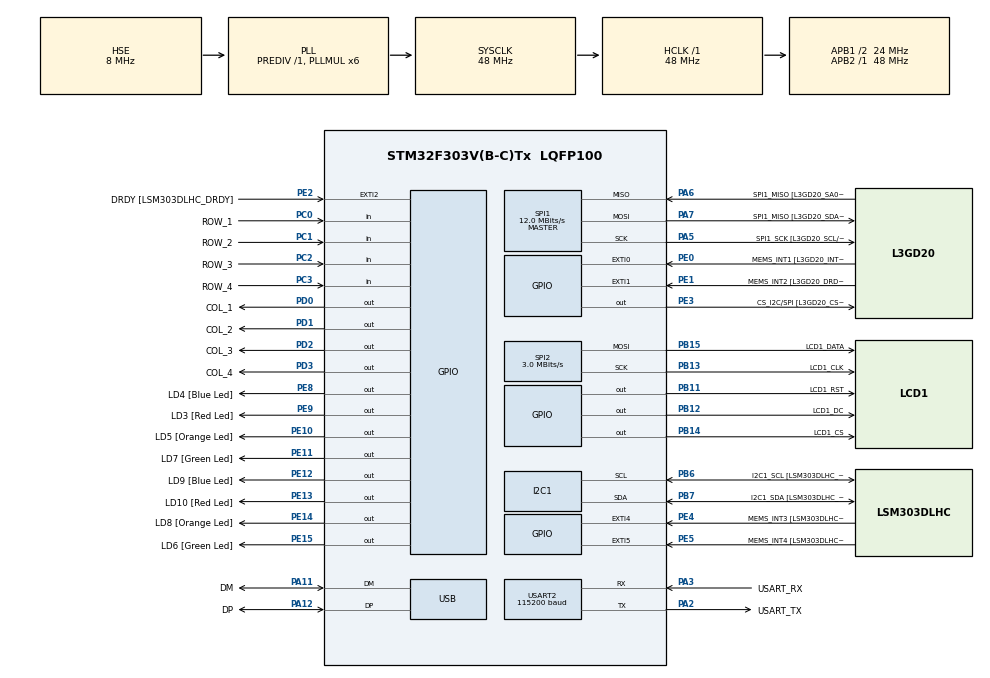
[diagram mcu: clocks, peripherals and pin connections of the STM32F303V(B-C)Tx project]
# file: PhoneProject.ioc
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I2C1.Timing=0x00201D2B
I2C1.Timing-I2C=0x2000090E
Mcu.Family=STM32F3
Mcu.Name=STM32F303V(B-C)Tx
Mcu.Package=LQFP100
NVIC.PriorityGroup=NVIC_PRIORITYGROUP_0
NVIC.USART2_IRQn=true\:0\:0\:false\:false\:true\:true\:true\:true
PA11.GPIO_Label=DM
PA11.Mode=Device
PA11.Signal=USB_DM
PA12.GPIO_Label=DP
PA12.Mode=Device
PA12.Signal=USB_DP
PA13.GPIO_Label=SWDIO
PA13.Mode=Serial_Wire
PA13.Signal=SYS_JTMS-SWDIO
PA14.GPIO_Label=SWCLK
PA14.Mode=Serial_Wire
PA14.Signal=SYS_JTCK-SWCLK
PA2.GPIO_Label=USART_TX
PA2.Mode=Asynchronous
PA2.Signal=USART2_TX
PA3.GPIO_Label=USART_RX
PA3.Mode=Asynchronous
PA3.Signal=USART2_RX
PA5.GPIO_Label=SPI1_SCK [L3GD20_SCL/SPC]
PA5.Mode=Full_Duplex_Master
PA5.Signal=SPI1_SCK
PA6.GPIO_Label=SPI1_MISO [L3GD20_SA0/SDO]
PA6.Mode=Full_Duplex_Master
PA6.Signal=SPI1_MISO
PA7.GPIO_Label=SPI1_MISO [L3GD20_SDA/SDI/SDO]
PA7.Mode=Full_Duplex_Master
PA7.Signal=SPI1_MOSI
PB11.GPIO_Label=LCD1_RST
PB11.Signal=GPIO_Output
PB12.GPIO_Label=LCD1_DC
PB12.Signal=GPIO_Output
PB13.GPIO_Label=LCD1_CLK
PB13.Mode=TX_Only_Simplex_Unidirect_Master
PB13.Signal=SPI2_SCK
PB14.GPIO_Label=LCD1_CS
PB14.Signal=GPIO_Output
PB15.GPIO_Label=LCD1_DATA
PB15.Mode=TX_Only_Simplex_Unidirect_Master
PB15.Signal=SPI2_MOSI
PB3.GPIO_Label=SWO
PB3.Signal=SYS_JTDO-TRACESWO
PB6.GPIO_Label=I2C1_SCL [LSM303DLHC_SCL]
PB6.GPIO_Pu=GPIO_PULLUP
PB6.Mode=I2C
PB6.Signal=I2C1_SCL
PB7.GPIO_Label=I2C1_SDA [LSM303DLHC_SDA]
PB7.GPIO_Pu=GPIO_PULLUP
PB7.Mode=I2C
PB7.Signal=I2C1_SDA
PC0.GPIO_Label=ROW_1
PC0.GPIO_PuPd=GPIO_PULLUP
PC0.Signal=GPIO_Input
PC1.GPIO_Label=ROW_2
PC1.GPIO_PuPd=GPIO_PULLUP
PC1.Signal=GPIO_Input
PC14-OSC32_IN.GPIO_Label=OSC32_IN
PC14-OSC32_IN.Signal=RCC_OSC32_IN
PC15-OSC32_OUT.GPIO_Label=OSC32_OUT
PC15-OSC32_OUT.Signal=RCC_OSC32_OUT
PC2.GPIO_Label=ROW_3
PC2.GPIO_PuPd=GPIO_PULLUP
PC2.Signal=GPIO_Input
PC3.GPIO_Label=ROW_4
PC3.GPIO_PuPd=GPIO_PULLUP
PC3.Signal=GPIO_Input
PD0.GPIO_Label=COL_1
PD0.GPIO_PuPd=GPIO_PULLUP
PD0.Signal=GPIO_Output
PD1.GPIO_Label=COL_2
PD1.GPIO_PuPd=GPIO_PULLUP
PD1.Signal=GPIO_Output
PD2.GPIO_Label=COL_3
PD2.GPIO_PuPd=GPIO_PULLUP
PD2.Signal=GPIO_Output
PD3.GPIO_Label=COL_4
PD3.GPIO_PuPd=GPIO_PULLUP
PD3.Signal=GPIO_Output
PE0.GPIO_Label=MEMS_INT1 [L3GD20_INT1]
PE0.GPIO_ModeDefaultEXTI=GPIO_MODE_EVT_RISING
PE0.Signal=GPXTI0
PE1.GPIO_Label=MEMS_INT2 [L3GD20_DRDY/INT2]
PE1.GPIO_ModeDefaultEXTI=GPIO_MODE_EVT_RISING
PE1.Signal=GPXTI1
PE10.GPIO_Label=LD5 [Orange Led]
PE10.Signal=GPIO_Output
PE11.GPIO_Label=LD7 [Green Led]
PE11.Signal=GPIO_Output
PE12.GPIO_Label=LD9 [Blue Led]
PE12.Signal=GPIO_Output
PE13.GPIO_Label=LD10 [Red Led]
PE13.Signal=GPIO_Output
PE14.GPIO_Label=LD8 [Orange Led]
PE14.Signal=GPIO_Output
PE15.GPIO_Label=LD6 [Green Led]
PE15.Signal=GPIO_Output
PE2.GPIO_Label=DRDY [LSM303DLHC_DRDY]
PE2.GPIO_ModeDefaultEXTI=GPIO_MODE_EVT_RISING
PE2.Signal=GPXTI2
PE3.GPIO_Label=CS_I2C/SPI [L3GD20_CS_I2C/SPI]
PE3.Signal=GPIO_Output
PE4.GPIO_Label=MEMS_INT3 [LSM303DLHC_INT1]
PE4.GPIO_ModeDefaultEXTI=GPIO_MODE_EVT_RISING
PE4.Signal=GPXTI4
PE5.GPIO_Label=MEMS_INT4 [LSM303DLHC_INT2]
PE5.GPIO_ModeDefaultEXTI=GPIO_MODE_EVT_RISING
PE5.Signal=GPXTI5
PE8.GPIO_Label=LD4 [Blue Led]
PE8.Signal=GPIO_Output
PE9.GPIO_Label=LD3 [Red Led]
PE9.Signal=GPIO_Output
PF0-OSC_IN.GPIO_Label=OSC_IN
PF0-OSC_IN.Mode=HSE-External-Clock-Source
PF0-OSC_IN.Signal=RCC_OSC_IN
PF1-OSC_OUT.GPIO_Label=OSC_OUT
PF1-OSC_OUT.Signal=RCC_OSC_OUT
ProjectManager.HeapSize=0x200
ProjectManager.StackSize=0x400
ProjectManager.TargetToolchain=STM32CubeIDE
RCC.AHBFreq_Value=48000000
RCC.APB1CLKDivider=RCC_HCLK_DIV2
RCC.APB1Freq_Value=24000000
RCC.APB1TimFreq_Value=48000000
RCC.APB2Freq_Value=48000000
RCC.APB2TimFreq_Value=48000000
RCC.CortexFreq_Value=48000000
RCC.HCLKFreq_Value=48000000
RCC.HSE_VALUE=8000000
RCC.HSI_VALUE=8000000
RCC.LSE_VALUE=32768
RCC.PLLMUL=RCC_PLL_MUL6
RCC.SYSCLKFreq_VALUE=48000000
RCC.SYSCLKSourceVirtual=RCC_SYSCLKSOURCE_PLLCLK
RCC.USBFreq_Value=48000000
SPI1.BaudRatePrescaler=SPI_BAUDRATEPRESCALER_4
SPI1.BaudRatePrescaler-Full_Duplex_Master=SPI_BAUDRATEPRESCALER_2
SPI1.CalculateBaudRate=12.0 MBits/s
SPI1.CalculateBaudRate-Full_Duplex_Master=24.0 MBits/s
SPI1.Direction=SPI_DIRECTION_2LINES
SPI1.Mode=SPI_MODE_MASTER
SPI1.Mode-Full_Duplex_Master=SPI_MODE_MASTER
SPI1.VirtualType=VM_MASTER
SPI2.BaudRatePrescaler=SPI_BAUDRATEPRESCALER_8
SPI2.CalculateBaudRate=3.0 MBits/s
SPI2.DataSize=SPI_DATASIZE_8BIT
SPI2.Direction=SPI_DIRECTION_2LINES
SPI2.Mode=SPI_MODE_MASTER
SPI2.VirtualType=VM_MASTER
USART2.BaudRate=115200
USART2.VirtualMode-Asynchronous=VM_ASYNC
board=STM32F3DISCOVERY

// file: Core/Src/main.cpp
/* USER CODE BEGIN Header */
/**
  ******************************************************************************
  * @file           : main.c
  * @brief          : Main program body
  ******************************************************************************
  * @attention
  *
  * Copyright (c) 2024 STMicroelectronics.
  * All rights reserved.
  *
  * This software is licensed under terms that can be found in the LICENSE file
  * in the root directory of this software component.
  * If no LICENSE file comes with this software, it is provided AS-IS.
  *
  ******************************************************************************
  */
/* USER CODE END Header */
extern "C"{
	#include "main.h"
	#include "i2c.h"
	#include "spi.h"
	#include "usart.h"
	#include "usb.h"
	#include "gpio.h"
	#include "lcd5110.h"
}
#include "GSMLibrary.hpp"
/* USER CODE BEGIN Includes */
#include <cstring>
#include <iostream>
#include <queue>
#include <fstream>
#include <string>
#include <stack>
/* USER CODE END Includes */

LCD5110_display lcd;

void SystemClock_Config(void);
/* USER CODE BEGIN PFP */
//void handle_state_machine(GSM_Module& gsm);
//GSMState parse_command(const std::string& command, GSM_Module gsm);
//std::string read_keyboard_input();
/* USER CODE END PFP */

/* USER CODE BEGIN 0 */

char keypad_scan(void)
{
  char keys[4][4] = {{'1', '2', '3', 'A'},
           {'4', '5', '6', 'B'},
           {'7', '8', '9', 'C'},
           {'*', '0', '#', 'D'}};

  for(int i = 0; i < 4; i++)
  {
  // Set current column as output and low
  switch(i)
  {
    case 0:
    HAL_GPIO_WritePin(COL_1_GPIO_Port, COL_1_Pin, GPIO_PIN_RESET);
    HAL_GPIO_WritePin(COL_2_GPIO_Port, COL_2_Pin, GPIO_PIN_SET);
    HAL_GPIO_WritePin(COL_3_GPIO_Port, COL_3_Pin, GPIO_PIN_SET);
    HAL_GPIO_WritePin(COL_4_GPIO_Port, COL_4_Pin, GPIO_PIN_SET);
    break;

    case 1:
    HAL_GPIO_WritePin(COL_1_GPIO_Port, COL_1_Pin, GPIO_PIN_SET);
    HAL_GPIO_WritePin(COL_2_GPIO_Port, COL_2_Pin, GPIO_PIN_RESET);
    HAL_GPIO_WritePin(COL_3_GPIO_Port, COL_3_Pin, GPIO_PIN_SET);
    HAL_GPIO_WritePin(COL_4_GPIO_Port, COL_4_Pin, GPIO_PIN_SET);
    break;

    case 2:
    HAL_GPIO_WritePin(COL_1_GPIO_Port, COL_1_Pin, GPIO_PIN_SET);
    HAL_GPIO_WritePin(COL_2_GPIO_Port, COL_2_Pin, GPIO_PIN_SET);
    HAL_GPIO_WritePin(COL_3_GPIO_Port, COL_3_Pin, GPIO_PIN_RESET);
    HAL_GPIO_WritePin(COL_4_GPIO_Port, COL_4_Pin, GPIO_PIN_SET);
    break;

    case 3:
    HAL_GPIO_WritePin(COL_1_GPIO_Port, COL_1_Pin, GPIO_PIN_SET);
    HAL_GPIO_WritePin(COL_2_GPIO_Port, COL_2_Pin, GPIO_PIN_SET);
    HAL_GPIO_WritePin(COL_3_GPIO_Port, COL_3_Pin, GPIO_PIN_SET);
    HAL_GPIO_WritePin(COL_4_GPIO_Port, COL_4_Pin, GPIO_PIN_RESET);
    break;
  }
  // Read current rows
  if(HAL_GPIO_ReadPin(ROW_1_GPIO_Port, ROW_1_Pin) == GPIO_PIN_RESET)
    return keys[0][i];
  if(HAL_GPIO_ReadPin(ROW_2_GPIO_Port, ROW_2_Pin) == GPIO_PIN_RESET)
    return keys[1][i];
  if(HAL_GPIO_ReadPin(ROW_3_GPIO_Port, ROW_3_Pin) == GPIO_PIN_RESET)
    return keys[2][i];
  if(HAL_GPIO_ReadPin(ROW_4_GPIO_Port, ROW_4_Pin) == GPIO_PIN_RESET)
    return keys[3][i];
  }
  return 0;
}

std::string entered_number = "";

std::string read_input(LCD5110_display* lcd) {
    char key;
    int cursor_x = 21;
    unsigned long last_key_time = 0;
    unsigned long debounce_delay = 200;

    while (true) {
        key = keypad_scan();
        if (key != 0 && (HAL_GetTick() - last_key_time > debounce_delay)) {
            last_key_time = HAL_GetTick();

            if (key == '#') {
                return entered_number;
            }
            if (key == '*') {
                if (!entered_number.empty()) {
                    entered_number.pop_back();
                    cursor_x = std::max(21, cursor_x - 6);
                    LCD5110_set_cursor(cursor_x, 34, lcd);
                    LCD5110_print(" ", BLACK, lcd);
                }
            } else if (key >= '0' && key <= '9') {
                if (entered_number.length() < 10) {
                    entered_number.push_back(key);

                    LCD5110_set_cursor(cursor_x, 34, lcd);
                    char str[2] = {key, '\0'};
                    LCD5110_print(str, BLACK, lcd);
                    cursor_x += 6;
                }
            } else {
                LCD5110_set_cursor(0, 40, lcd);
                LCD5110_print("Invalid input", BLACK, lcd);
                HAL_Delay(1000);
                LCD5110_set_cursor(0, 40, lcd);
                LCD5110_print("              ", BLACK, lcd);
            }

            HAL_Delay(150);
            LCD5110_refresh(lcd);
        }
    }
}

std::string entered_message = "";
void read_input_message(LCD5110_display* lcd) {
    int cursor_x = 3;
    int cursor_y = 34;

    LCD5110_refresh(lcd);
    LCD5110_set_cursor(3, 34, lcd);
    for (int i = 0; i < 12; i++) {
        LCD5110_print(".", BLACK, lcd);
    }
    LCD5110_refresh(lcd);

    HAL_Delay(500);
    for (int i = 0; i < 12; i++) {
        LCD5110_set_cursor(cursor_x, cursor_y, lcd);

        LCD5110_print("0", BLACK, lcd);
        LCD5110_refresh(lcd);
        cursor_x += 6;

        HAL_Delay(500);
    }
}

void display_main_screen(LCD5110_display* lcd, int menu, GSM_Module gsm) {
  LCD5110_clear_scr(lcd);

// Kitty

  LCD5110_putpix(3, 3, BLACK, &lcd->hw_conf);
  LCD5110_putpix(4, 3, BLACK, &lcd->hw_conf);
  LCD5110_putpix(5, 3, BLACK, &lcd->hw_conf);
  LCD5110_putpix(19, 3, BLACK, &lcd->hw_conf);
  LCD5110_putpix(20, 3, BLACK, &lcd->hw_conf);
  LCD5110_putpix(21, 3, BLACK, &lcd->hw_conf);

  LCD5110_putpix(2, 4, BLACK, &lcd->hw_conf);
  LCD5110_putpix(6, 4, BLACK, &lcd->hw_conf);
  LCD5110_putpix(7, 4, BLACK, &lcd->hw_conf);
  LCD5110_putpix(17, 4, BLACK, &lcd->hw_conf);
  LCD5110_putpix(18, 4, BLACK, &lcd->hw_conf);
  LCD5110_putpix(22, 4, BLACK, &lcd->hw_conf);

  LCD5110_putpix(2, 5, BLACK, &lcd->hw_conf);
  LCD5110_putpix(8, 5, BLACK, &lcd->hw_conf);
  LCD5110_putpix(9, 5, BLACK, &lcd->hw_conf);
  LCD5110_putpix(10, 5, BLACK, &lcd->hw_conf);
  LCD5110_putpix(11, 5, BLACK, &lcd->hw_conf);
  LCD5110_putpix(12, 5, BLACK, &lcd->hw_conf);
  LCD5110_putpix(13, 5, BLACK, &lcd->hw_conf);
  LCD5110_putpix(14, 5, BLACK, &lcd->hw_conf);
  LCD5110_putpix(15, 5, BLACK, &lcd->hw_conf);
  LCD5110_putpix(16, 5, BLACK, &lcd->hw_conf);
  LCD5110_putpix(22, 5, BLACK, &lcd->hw_conf);

  LCD5110_putpix(2, 6, BLACK, &lcd->hw_conf);
  LCD5110_putpix(6, 6, BLACK, &lcd->hw_conf);
  LCD5110_putpix(7, 6, BLACK, &lcd->hw_conf);
  LCD5110_putpix(17, 6, BLACK, &lcd->hw_conf);
  LCD5110_putpix(18, 6, BLACK, &lcd->hw_conf);
  LCD5110_putpix(22, 6, BLACK, &lcd->hw_conf);

  LCD5110_putpix(2, 7, BLACK, &lcd->hw_conf);
  LCD5110_putpix(5, 7, BLACK, &lcd->hw_conf);
  LCD5110_putpix(19, 7, BLACK, &lcd->hw_conf);
  LCD5110_putpix(22, 7, BLACK, &lcd->hw_conf);

  LCD5110_putpix(2, 8, BLACK, &lcd->hw_conf);
  LCD5110_putpix(4, 8, BLACK, &lcd->hw_conf);
  LCD5110_putpix(20, 8, BLACK, &lcd->hw_conf);
  LCD5110_putpix(22, 8, BLACK, &lcd->hw_conf);

  LCD5110_putpix(2, 9, BLACK, &lcd->hw_conf);
  LCD5110_putpix(3, 9, BLACK, &lcd->hw_conf);
  LCD5110_putpix(21, 9, BLACK, &lcd->hw_conf);
  LCD5110_putpix(22, 9, BLACK, &lcd->hw_conf);

  LCD5110_putpix(3, 10, BLACK, &lcd->hw_conf);
  LCD5110_putpix(21, 10, BLACK, &lcd->hw_conf);

  LCD5110_putpix(2, 11, BLACK, &lcd->hw_conf);
  LCD5110_putpix(22, 11, BLACK, &lcd->hw_conf);

  LCD5110_putpix(2, 12, BLACK, &lcd->hw_conf);
  LCD5110_putpix(6, 12, BLACK, &lcd->hw_conf);
  LCD5110_putpix(7, 12, BLACK, &lcd->hw_conf);
  LCD5110_putpix(17, 12, BLACK, &lcd->hw_conf);
  LCD5110_putpix(18, 12, BLACK, &lcd->hw_conf);
  LCD5110_putpix(22, 12, BLACK, &lcd->hw_conf);

  LCD5110_putpix(2, 13, BLACK, &lcd->hw_conf);
  LCD5110_putpix(6, 13, BLACK, &lcd->hw_conf);
  LCD5110_putpix(7, 13, BLACK, &lcd->hw_conf);
  LCD5110_putpix(10, 13, BLACK, &lcd->hw_conf);
  LCD5110_putpix(12, 13, BLACK, &lcd->hw_conf);
  LCD5110_putpix(14, 13, BLACK, &lcd->hw_conf);
  LCD5110_putpix(17, 13, BLACK, &lcd->hw_conf);
  LCD5110_putpix(18, 13, BLACK, &lcd->hw_conf);
  LCD5110_putpix(22, 13, BLACK, &lcd->hw_conf);

  LCD5110_putpix(2, 14, BLACK, &lcd->hw_conf);
  LCD5110_putpix(11, 14, BLACK, &lcd->hw_conf);
  LCD5110_putpix(13, 14, BLACK, &lcd->hw_conf);
  LCD5110_putpix(22, 14, BLACK, &lcd->hw_conf);

  LCD5110_putpix(2, 15, BLACK, &lcd->hw_conf);
  LCD5110_putpix(22, 15, BLACK, &lcd->hw_conf);

  LCD5110_putpix(3, 16, BLACK, &lcd->hw_conf);
  LCD5110_putpix(21, 16, BLACK, &lcd->hw_conf);

  LCD5110_putpix(3, 17, BLACK, &lcd->hw_conf);
  LCD5110_putpix(21, 17, BLACK, &lcd->hw_conf);

  LCD5110_putpix(4, 18, BLACK, &lcd->hw_conf);
  LCD5110_putpix(5, 18, BLACK, &lcd->hw_conf);
  LCD5110_putpix(19, 18, BLACK, &lcd->hw_conf);
  LCD5110_putpix(20, 18, BLACK, &lcd->hw_conf);

  LCD5110_putpix(5, 19, BLACK, &lcd->hw_conf);
  LCD5110_putpix(19, 19, BLACK, &lcd->hw_conf);
  LCD5110_putpix(23, 19, BLACK, &lcd->hw_conf);
  LCD5110_putpix(24, 19, BLACK, &lcd->hw_conf);

  LCD5110_putpix(4, 20, BLACK, &lcd->hw_conf);
  LCD5110_putpix(20, 20, BLACK, &lcd->hw_conf);
  LCD5110_putpix(22, 20, BLACK, &lcd->hw_conf);
  LCD5110_putpix(25, 20, BLACK, &lcd->hw_conf);

  LCD5110_putpix(4, 21, BLACK, &lcd->hw_conf);
  LCD5110_putpix(20, 21, BLACK, &lcd->hw_conf);
  LCD5110_putpix(22, 21, BLACK, &lcd->hw_conf);
  LCD5110_putpix(25, 21, BLACK, &lcd->hw_conf);

  LCD5110_putpix(3, 22,  BLACK, &lcd->hw_conf);
  LCD5110_putpix(21, 22,  BLACK, &lcd->hw_conf);
  LCD5110_putpix(24, 22, BLACK, &lcd->hw_conf);

  LCD5110_putpix(3, 23, BLACK, &lcd->hw_conf);
  LCD5110_putpix(22, 23, BLACK, &lcd->hw_conf);
  LCD5110_putpix(23, 23, BLACK, &lcd->hw_conf);

  LCD5110_putpix(3, 24, BLACK, &lcd->hw_conf);
  LCD5110_putpix(21, 24, BLACK, &lcd->hw_conf);
  LCD5110_putpix(22, 24, BLACK, &lcd->hw_conf);

  LCD5110_putpix(4, 25, BLACK, &lcd->hw_conf);
  LCD5110_putpix(20, 25, BLACK, &lcd->hw_conf);

  LCD5110_putpix(5, 26, BLACK, &lcd->hw_conf);
  LCD5110_putpix(6, 26, BLACK, &lcd->hw_conf);
  LCD5110_putpix(7, 26, BLACK, &lcd->hw_conf);
  LCD5110_putpix(8, 26, BLACK, &lcd->hw_conf);
  LCD5110_putpix(9, 26, BLACK, &lcd->hw_conf);
  LCD5110_putpix(10, 26, BLACK, &lcd->hw_conf);
  LCD5110_putpix(11, 26, BLACK, &lcd->hw_conf);
  LCD5110_putpix(12, 26, BLACK, &lcd->hw_conf);
  LCD5110_putpix(13, 26, BLACK, &lcd->hw_conf);
  LCD5110_putpix(14, 26, BLACK, &lcd->hw_conf);
  LCD5110_putpix(15, 26, BLACK, &lcd->hw_conf);
  LCD5110_putpix(16, 26, BLACK, &lcd->hw_conf);
  LCD5110_putpix(17, 26, BLACK, &lcd->hw_conf);
  LCD5110_putpix(18, 26, BLACK, &lcd->hw_conf);
  LCD5110_putpix(19, 26, BLACK, &lcd->hw_conf);

///////////////////////////////////////////////////////////////
//////////////////////////////////////////////////////////////

  LCD5110_putpix(81, 0, BLACK, &lcd->hw_conf);
  LCD5110_putpix(82, 0, BLACK, &lcd->hw_conf);
  LCD5110_putpix(83, 0, BLACK, &lcd->hw_conf);

  LCD5110_putpix(81, 1, BLACK, &lcd->hw_conf);
  LCD5110_putpix(83, 1, BLACK, &lcd->hw_conf);

  LCD5110_putpix(77, 2, BLACK, &lcd->hw_conf);
  LCD5110_putpix(78, 2, BLACK, &lcd->hw_conf);
  LCD5110_putpix(79, 2, BLACK, &lcd->hw_conf);
  LCD5110_putpix(81, 2, BLACK, &lcd->hw_conf);
  LCD5110_putpix(83, 2, BLACK, &lcd->hw_conf);

  LCD5110_putpix(77, 3, BLACK, &lcd->hw_conf);
  LCD5110_putpix(79, 3, BLACK, &lcd->hw_conf);
  LCD5110_putpix(81, 3, BLACK, &lcd->hw_conf);
  LCD5110_putpix(83, 3, BLACK, &lcd->hw_conf);

  LCD5110_putpix(73, 4, BLACK, &lcd->hw_conf);
  LCD5110_putpix(74, 4, BLACK, &lcd->hw_conf);
  LCD5110_putpix(75, 4, BLACK, &lcd->hw_conf);
  LCD5110_putpix(77, 4, BLACK, &lcd->hw_conf);
  LCD5110_putpix(79, 4, BLACK, &lcd->hw_conf);
  LCD5110_putpix(81, 4, BLACK, &lcd->hw_conf);
  LCD5110_putpix(83, 4, BLACK, &lcd->hw_conf);

  LCD5110_putpix(73, 5, BLACK, &lcd->hw_conf);
  LCD5110_putpix(75, 5, BLACK, &lcd->hw_conf);
  LCD5110_putpix(77, 5, BLACK, &lcd->hw_conf);
  LCD5110_putpix(79, 5, BLACK, &lcd->hw_conf);
  LCD5110_putpix(81, 5, BLACK, &lcd->hw_conf);
  LCD5110_putpix(83, 5, BLACK, &lcd->hw_conf);

  LCD5110_putpix(69, 6, BLACK, &lcd->hw_conf);
  LCD5110_putpix(70, 6, BLACK, &lcd->hw_conf);
  LCD5110_putpix(71, 6, BLACK, &lcd->hw_conf);
  LCD5110_putpix(73, 6, BLACK, &lcd->hw_conf);
  LCD5110_putpix(75, 6, BLACK, &lcd->hw_conf);
  LCD5110_putpix(77, 6, BLACK, &lcd->hw_conf);
  LCD5110_putpix(79, 6, BLACK, &lcd->hw_conf);
  LCD5110_putpix(81, 6, BLACK, &lcd->hw_conf);
  LCD5110_putpix(83, 6, BLACK, &lcd->hw_conf);

  LCD5110_putpix(69, 7, BLACK, &lcd->hw_conf);
  LCD5110_putpix(71, 7, BLACK, &lcd->hw_conf);
  LCD5110_putpix(73, 7, BLACK, &lcd->hw_conf);
  LCD5110_putpix(75, 7, BLACK, &lcd->hw_conf);
  LCD5110_putpix(77, 7, BLACK, &lcd->hw_conf);
  LCD5110_putpix(79, 7, BLACK, &lcd->hw_conf);
  LCD5110_putpix(81, 7, BLACK, &lcd->hw_conf);
  LCD5110_putpix(83, 7, BLACK, &lcd->hw_conf);

  LCD5110_putpix(69, 8, BLACK, &lcd->hw_conf);
  LCD5110_putpix(70, 8, BLACK, &lcd->hw_conf);
  LCD5110_putpix(71, 8, BLACK, &lcd->hw_conf);
  LCD5110_putpix(73, 8, BLACK, &lcd->hw_conf);
  LCD5110_putpix(74, 8, BLACK, &lcd->hw_conf);
  LCD5110_putpix(75, 8, BLACK, &lcd->hw_conf);
  LCD5110_putpix(77, 8, BLACK, &lcd->hw_conf);
  LCD5110_putpix(78, 8, BLACK, &lcd->hw_conf);
  LCD5110_putpix(79, 8, BLACK, &lcd->hw_conf);
  LCD5110_putpix(81, 8, BLACK, &lcd->hw_conf);
  LCD5110_putpix(82, 8, BLACK, &lcd->hw_conf);
  LCD5110_putpix(83, 8, BLACK, &lcd->hw_conf);

  int signal = gsm.get_signal_strength();

	  if (signal >= 0) {
		LCD5110_putpix(70, 7, BLACK, &lcd->hw_conf);
	      }

		  if (signal >= 9) {
			LCD5110_putpix(74, 7, BLACK, &lcd->hw_conf);
			LCD5110_putpix(74, 6, BLACK, &lcd->hw_conf);
			LCD5110_putpix(74, 5, BLACK, &lcd->hw_conf);
		  }

		  if (signal >= 14) {
			LCD5110_putpix(78, 7, BLACK, &lcd->hw_conf);
			LCD5110_putpix(78, 6, BLACK, &lcd->hw_conf);
			LCD5110_putpix(78, 5, BLACK, &lcd->hw_conf);
			LCD5110_putpix(78, 4, BLACK, &lcd->hw_conf);
			LCD5110_putpix(78, 3, BLACK, &lcd->hw_conf);
		  }

		  if (signal >= 19) {
			LCD5110_putpix(82, 7, BLACK, &lcd->hw_conf);
			LCD5110_putpix(82, 6, BLACK, &lcd->hw_conf);
			LCD5110_putpix(82, 5, BLACK, &lcd->hw_conf);
			LCD5110_putpix(82, 4, BLACK, &lcd->hw_conf);
			LCD5110_putpix(82, 3, BLACK, &lcd->hw_conf);
			LCD5110_putpix(82, 2, BLACK, &lcd->hw_conf);
			LCD5110_putpix(82, 1, BLACK, &lcd->hw_conf);
		  }

	int y_position = 35;
	int rect_height = 8;
	int rect_width = 8;

  if (menu == 1) {
    for (int x = 0; x < rect_width; x++) {
      for (int y = y_position; y < y_position + rect_height; y++) {
        LCD5110_putpix(x, y, BLACK, &lcd->hw_conf);
      }
    }

    LCD5110_set_cursor(2, y_position, lcd);
    LCD5110_print("Menu", WHITE, lcd);
  } else {
    LCD5110_set_cursor(2, y_position, lcd);
    LCD5110_print("Menu", BLACK, lcd);
  }

  for (int x = 0; x < 26; x++) {
          LCD5110_putpix(x, 42, BLACK, &lcd->hw_conf);
   }

  std::pair<std::string, std::string> date_and_time = gsm.get_date_and_time();

  LCD5110_set_cursor(53, 13, lcd);
  LCD5110_print(((date_and_time.second).substr(0, 5)).c_str(), BLACK, lcd);

  LCD5110_set_cursor(36, 25, lcd);
  LCD5110_print(date_and_time.first.c_str(), BLACK, lcd);

  LCD5110_refresh(lcd);
}

void display_main_menu(LCD5110_display* lcd, int selected_num) {
    LCD5110_clear_scr(lcd);

    LCD5110_set_cursor(31, 0, lcd);
    LCD5110_print("Menu", BLACK, lcd);

    for (int x = 0; x < 84; x++) {
        LCD5110_putpix(x, 9, BLACK, &lcd->hw_conf);
    }

    const char* menu_items[] = {"> Call", "> Messages", "> Snake"};
    const int y_positions[] = {12, 20, 28};
    const int num_items = 3;

    for (int i = 0; i < num_items; i++) {
        if (selected_num == i + 1) {
            for (int x = 0; x < 84; x++) {
                for (int y = y_positions[i]; y < y_positions[i] + 8; y++) {
                    LCD5110_putpix(x, y, BLACK, &lcd->hw_conf);
                }
            }
            LCD5110_set_cursor(0, y_positions[i], lcd);
            LCD5110_print(menu_items[i], WHITE, lcd);
        } else {
            LCD5110_set_cursor(0, y_positions[i], lcd);
            LCD5110_print(menu_items[i], BLACK, lcd);
        }
    }
    LCD5110_refresh(lcd);
}

void display_messages_screen(LCD5110_display* lcd, int selected_num) {
    LCD5110_clear_scr(lcd);

    LCD5110_set_cursor(21, 0, lcd);
    LCD5110_print("Messages", BLACK, lcd);

    for (int x = 0; x < 84; x++) {
        LCD5110_putpix(x, 9, BLACK, &lcd->hw_conf);
    }

    const char* menu_items[] = {"> Send SMS", "> Received SMS"};
    const int y_positions[] = {12, 20};
    const int num_items = 2;

    for (int i = 0; i < num_items; i++){
      if (selected_num == i + 1){
        for (int x = 0; x < 84; x++){
          for (int y = y_positions[i]; y < y_positions[i] + 8; y++){
              LCD5110_putpix(x, y, BLACK, &lcd->hw_conf);
          }
        }
        LCD5110_set_cursor(0, y_positions[i], lcd);
        LCD5110_print(menu_items[i], WHITE, lcd);
      } else {
            LCD5110_set_cursor(0, y_positions[i], lcd);
            LCD5110_print(menu_items[i], BLACK, lcd);
        }
    }
    LCD5110_refresh(lcd);
}

void display_call_screen(LCD5110_display* lcd) {
    LCD5110_clear_scr(lcd);

    LCD5110_set_cursor(31, 0, lcd);
    LCD5110_print("Call", BLACK, lcd);

    for (int x = 0; x < 84; x++) {
        LCD5110_putpix(x, 9, BLACK, &lcd->hw_conf);
    }

    LCD5110_set_cursor(3, 14, lcd);
    LCD5110_print("Enter number:", BLACK, lcd);

    LCD5110_set_cursor(1, 34, lcd);
    LCD5110_print("+38", BLACK, lcd);

    int x_start = 19;
    int x_end = 83;
    int y_start = 32;
    int y_end = 42;

    for (int x = x_start; x < x_end; x++) {
        LCD5110_putpix(x, y_start, BLACK, &lcd->hw_conf);
    }

    for (int x = x_start; x < x_end; x++) {
        LCD5110_putpix(x, y_end, BLACK, &lcd->hw_conf);
    }

    for (int y = y_start; y <= y_end; y++) {
        LCD5110_putpix(x_start, y, BLACK, &lcd->hw_conf);
    }

    for (int y = y_start; y <= y_end; y++) {
        LCD5110_putpix(x_end - 1, y, BLACK, &lcd->hw_conf);
    }

    LCD5110_refresh(lcd);

    std::string phone_number = read_input(lcd);

}

void display_call_process(LCD5110_display* lcd) {
    LCD5110_clear_scr(lcd);
    LCD5110_set_cursor(15, 0, lcd);
    LCD5110_print("Calling...", BLACK, lcd);

    int x_start = 0;
    int y_start = 18;

    if (entered_number.empty()) {
       LCD5110_set_cursor(x_start, y_start, lcd);
       LCD5110_print("Empty", BLACK, lcd);
    } else{

    LCD5110_set_cursor(x_start, y_start, lcd);
    LCD5110_print(entered_number.c_str(), BLACK, lcd);
    }
    LCD5110_set_cursor(0, 35, lcd);
    LCD5110_print("Press * to end", BLACK, lcd);

    LCD5110_refresh(lcd);
}

void display_hang_up_call_process(LCD5110_display* lcd){
  LCD5110_clear_scr(lcd);
  LCD5110_set_cursor(28, 0, lcd);
  LCD5110_print("00:00", BLACK, lcd);
  for (int x = 0; x < 84; x++) {
    LCD5110_putpix(x, 9, BLACK, &lcd->hw_conf);
  }

  int x_start = 0;
  int y_start = 18;
  int text_width = 72;
  int text_height = 8;

  for (int x = x_start; x < x_start + text_width; x++) {
    for (int y = y_start; y < y_start + text_height; y++) {
      LCD5110_putpix(x, y, BLACK, &lcd->hw_conf);
    }
  }

  LCD5110_set_cursor(x_start, y_start, lcd);
  LCD5110_print("+380.........", WHITE, lcd);

  LCD5110_set_cursor(0, 35, lcd);
  LCD5110_print("Press * to end", BLACK, lcd);

  LCD5110_refresh(lcd);
}

void display_send_sms(LCD5110_display* lcd) {
    LCD5110_clear_scr(lcd);

    LCD5110_set_cursor(21, 0, lcd);
    LCD5110_print("Send SMS", BLACK, lcd);

    for (int x = 0; x < 84; x++) {
        LCD5110_putpix(x, 9, BLACK, &lcd->hw_conf);
    }

    LCD5110_set_cursor(3, 14, lcd);
    LCD5110_print("Enter number:", BLACK, lcd);

    LCD5110_set_cursor(1, 34, lcd);
    LCD5110_print("+38", BLACK, lcd);

    int x_start = 19;
	int x_end = 83;
	int y_start = 32;
	int y_end = 42;

	for (int x = x_start; x < x_end; x++) {
		LCD5110_putpix(x, y_start, BLACK, &lcd->hw_conf);
	}

	for (int x = x_start; x < x_end; x++) {
		LCD5110_putpix(x, y_end, BLACK, &lcd->hw_conf);
	}

	for (int y = y_start; y <= y_end; y++) {
		LCD5110_putpix(x_start, y, BLACK, &lcd->hw_conf);
	}

	for (int y = y_start; y <= y_end; y++) {
		LCD5110_putpix(x_end - 1, y, BLACK, &lcd->hw_conf);
	}

    std::string phone_number = read_input(lcd);

    LCD5110_clear_scr(lcd);
    LCD5110_set_cursor(15, 0, lcd);
    LCD5110_print("Sending SMS to:", BLACK, lcd);

    LCD5110_set_cursor(0, 20, lcd);
    LCD5110_print(("+38" + phone_number).c_str(), BLACK, lcd);

    LCD5110_refresh(lcd);

}

void display_send_sms_input(LCD5110_display* lcd, GSM_Module gsm) {
    LCD5110_clear_scr(lcd);

    LCD5110_set_cursor(25, 0, lcd);
    LCD5110_print("Send SMS", BLACK, lcd);

    for (int x = 0; x < 84; x++) {
        LCD5110_putpix(x, 9, BLACK, &lcd->hw_conf);
    }

    LCD5110_set_cursor(3, 14, lcd);
    LCD5110_print("Enter SMS:", BLACK, lcd);

    int x_start = 1;
    int x_end = 83;
    int y_start = 32;
    int y_end = 42;

    for (int x = x_start; x < x_end; x++) {
        LCD5110_putpix(x, y_start, BLACK, &lcd->hw_conf);
    }

    for (int x = x_start; x < x_end; x++) {
        LCD5110_putpix(x, y_end, BLACK, &lcd->hw_conf);
    }

    for (int y = y_start; y <= y_end; y++) {
        LCD5110_putpix(x_start, y, BLACK, &lcd->hw_conf);
    }
    for (int y = y_start; y <= y_end; y++) {
        LCD5110_putpix(x_end - 1, y, BLACK, &lcd->hw_conf);
    }

    LCD5110_refresh(lcd);

    read_input_message(lcd);
}

void display_sent_sms(LCD5110_display* lcd){
  LCD5110_clear_scr(lcd);
  LCD5110_set_cursor(0, 20, lcd);
  LCD5110_print("Message was sent", BLACK, lcd);

  LCD5110_refresh(lcd);
}

void display_calling(LCD5110_display* lcd) {
    LCD5110_clear_scr(lcd);
    LCD5110_set_cursor(4, 5, lcd);
    LCD5110_print("+380.........", BLACK, lcd);

    LCD5110_set_cursor(18, 20, lcd);
    LCD5110_print("*", BLACK, lcd);

    LCD5110_set_cursor(60, 18, lcd);
    LCD5110_print("#", BLACK, lcd);

    int claimTextColor = BLACK;
    int claimRectColor = WHITE;
    int cancelTextColor = BLACK;
    int cancelRectColor = WHITE;

    for (int y = 30; y <= 40; y++) {
        for (int x = 0; x < 40; x++) {
            LCD5110_putpix(x, y, claimRectColor, &lcd->hw_conf);
        }
    }
    LCD5110_set_cursor(4, 32, lcd);
    LCD5110_print("OK", claimTextColor, lcd);

    for (int y = 30; y <= 40; y++) {
        for (int x = 43; x < 82; x++) {
            LCD5110_putpix(x, y, cancelRectColor, &lcd->hw_conf);
        }
    }
    LCD5110_set_cursor(45, 32, lcd);
    LCD5110_print("Cancel", cancelTextColor, lcd);

    LCD5110_refresh(lcd);
}

const int MAX_VISIBLE_MESSAGES = 5;

void display_messages_list(LCD5110_display* lcd, GSM_Module gsm) {
    int selected_message = 0;
    int scroll_offset = 0;

    while (true) {
        LCD5110_clear_scr(lcd);

        LCD5110_set_cursor(10, 0, lcd);
        LCD5110_print("Received SMS", BLACK, lcd);

        for (int x = 0; x < 84; x++) {
            LCD5110_putpix(x, 9, BLACK, &lcd->hw_conf);
        }

        for (int i = 0; i < MAX_VISIBLE_MESSAGES; ++i) {
            int msg_index = scroll_offset + i;
//            if (msg_index >= messages.size()) {
//                break; // No more messages
//            }

            int y_position = 12 + i * 8;

            std::pair<std::string, std::string> message = gsm.read_sms(msg_index);

            if (msg_index == selected_message) {
                for (int x = 0; x < 84; ++x) {
                    for (int y = y_position; y < y_position + 8; ++y) {
                        LCD5110_putpix(x, y, BLACK, &lcd->hw_conf);
                    }
                }
                LCD5110_set_cursor(0, y_position, lcd);
                LCD5110_print((("> " + message.second).substr(0, 10)).c_str(), WHITE, lcd);
            } else {
                LCD5110_set_cursor(0, y_position, lcd);
                LCD5110_print((("> " + message.second).substr(0, 10)).c_str(), BLACK, lcd);
            }
        }

        LCD5110_refresh(lcd);

        char key = keypad_scan();

        if (key == '2') {
            if (selected_message > 0) {
                --selected_message;
                if (selected_message < scroll_offset) {
                    --scroll_offset;
                }
            }
        } else if (key == '8') {
//            if (selected_message < messages.size() - 1) {
                ++selected_message;
                if (selected_message >= scroll_offset + MAX_VISIBLE_MESSAGES) {
                    ++scroll_offset;
                }
//            }
        } else if (key == '#') {
            return;
        }

        HAL_Delay(150);

    }
}

typedef enum {
    STATE_MAIN_SCREEN,
    STATE_MENU,
    STATE_CALL_INPUT,
    STATE_CALLING,
    STATE_CALL,
    STATE_INCOMING_CALL,
    STATE_MESSAGES,
    STATE_MESSAGE_NUMBER,
    STATE_MESSAGE_TEXT,
	STATE_RECIEVED,
    STATE_SNAKE_SCREEN
} SystemState;

void update_display_for_option(int option);
void update_display_for_message_option(int option);
void enter_main_screen(GSM_Module gsm);
void enter_menu();
void enter_call();
void enter_call_input();
void enter_calling();
void enter_messages();
void enter_message_number();
void enter_message_text(GSM_Module gsm);
char keypad_scan();
void handle_key_press(char key_pressed);
void enter_incomming_call();

int MAX_OPTIONS = 3;

SystemState current_state = STATE_MAIN_SCREEN;
std::stack<SystemState> state_stack;
int current_option = 0;
int current_message_option = 0;

std::vector<std::string> messages = {
    "Hello!",
    "How're you?",
    "ASAP.",
    "Don't forget the meeting.",
    "Urgent: System update required.",
    "Reminder: Code review tomorrow.",
    "Lunch at 12:00?"
};

void update_display_for_option(int option) {
    switch (option) {
        case 0:
            display_main_menu(&lcd, 1);
            break;
        case 1:
            display_main_menu(&lcd, 2);
            break;
        case 2:
            display_main_menu(&lcd, 3);
            break;
    }
}

void update_display_for_message_option(int option) {
    switch (option) {
        case 0:
            display_messages_screen(&lcd, 1);
            break;
        case 1:
            display_messages_screen(&lcd, 2);
            break;
    }
}

void push_state(SystemState state) {
    state_stack.push(state);
}

void pop_state(GSM_Module gsm) {
    if (!state_stack.empty()) {
        current_state = state_stack.top();
        state_stack.pop();

        // Update the display based on the restored state
        switch (current_state) {
            case STATE_MAIN_SCREEN:
            	display_main_screen(&lcd, 0, gsm);
                break;
            case STATE_MENU:
                display_main_menu(&lcd, 0);
                update_display_for_option(current_option);
                break;
            case STATE_CALL_INPUT:
                display_call_screen(&lcd);
                read_input(&lcd);
                break;
            case STATE_CALLING:
                display_call_process(&lcd);
                break;
            case STATE_CALL:
                display_hang_up_call_process(&lcd);
                break;
            case STATE_MESSAGES:
                display_messages_screen(&lcd, 0);
                update_display_for_message_option(current_message_option);
                break;
            case STATE_MESSAGE_NUMBER:
                display_send_sms(&lcd);
                break;
            case STATE_MESSAGE_TEXT:
                display_send_sms_input(&lcd, gsm);
                break;
            case STATE_RECIEVED:
            	display_messages_list(&lcd, gsm);
            	break;
            default:
                break;
        }
    }
}

void enter_main_screen(GSM_Module gsm) {
    display_main_screen(&lcd, 0, gsm);
    entered_number.clear();
    entered_message.clear();
    push_state(current_state);
    current_state = STATE_MAIN_SCREEN;
}

void enter_menu() {
    display_main_menu(&lcd, 0);
    update_display_for_option(current_option);
    push_state(current_state);
    current_state = STATE_MENU;
}

void enter_call_input() {
    display_call_screen(&lcd);
    read_input(&lcd);
    push_state(current_state);
    current_state = STATE_CALL_INPUT;
}

void enter_calling() {
    display_call_process(&lcd);
    push_state(current_state);
    current_state = STATE_CALLING;
}

void enter_call() {
    display_hang_up_call_process(&lcd);
    push_state(current_state);
    current_state = STATE_CALL;
}

void enter_messages() {
    display_messages_screen(&lcd, 0);
    current_message_option = 0;
    push_state(current_state);
    current_state = STATE_MESSAGES;
}

void enter_message_number() {
    display_send_sms(&lcd);
    read_input(&lcd);
    push_state(current_state);
    current_state = STATE_MESSAGE_NUMBER;
}

void enter_message_text(GSM_Module gsm) {
    display_send_sms_input(&lcd, gsm);
    read_input(&lcd);
    push_state(current_state);
    current_state = STATE_MESSAGE_TEXT;
}

void enter_recieved(GSM_Module gsm) {
	display_messages_list(&lcd, gsm);
	push_state(current_state);
	current_state = STATE_RECIEVED;

}

void enter_incomming_call() {
	display_calling(&lcd);
	push_state(current_state);
	current_state = STATE_INCOMING_CALL;
}

void handle_key_press(char key_pressed, GSM_Module gsm) {
    if (gsm.current_state == gsm.IDLE) {
        switch (current_state) {
            case STATE_MAIN_SCREEN:
                if (key_pressed == '0') {
                    enter_menu();
                }
                break;
            case STATE_MENU:
                if (key_pressed == 'A') {
                    current_option = (current_option - 1 + MAX_OPTIONS) % MAX_OPTIONS;
                    update_display_for_option(current_option);
                }
                if (key_pressed == 'B') {
                    current_option = (current_option + 1) % MAX_OPTIONS;
                    update_display_for_option(current_option);
                }
                if (key_pressed == '0') {
                    switch (current_option) {
                        case 0: enter_call_input(); break;
                        case 1: enter_messages(); break;
                    }
                }
                if (key_pressed == 'D') {
                    enter_main_screen(gsm);
                }
                if (key_pressed == 'C') {
                    pop_state(gsm);
                }
                break;
            case STATE_CALL_INPUT:
                if (key_pressed == '#') {
                	gsm.make_call(("38" + entered_number).c_str());
                    enter_calling();
                }
                if (key_pressed == 'D') {
                    enter_main_screen(gsm);
                }
                if (key_pressed == 'C') {
                    pop_state(gsm);
                }
                break;
            case STATE_CALLING:
                if (key_pressed == '#') {
                    enter_call();
                }
                if (key_pressed == '*') {
                    enter_main_screen(gsm);
                }
                break;
            case STATE_MESSAGES:
                if (key_pressed == 'A') {
                    current_message_option = (current_message_option - 1 + 2) % 2;
                    update_display_for_message_option(current_message_option);
                }
                if (key_pressed == 'B') {
                    current_message_option = (current_message_option + 1) % 2;
                    update_display_for_message_option(current_message_option);
                }
                if (key_pressed == '0') {
                	switch (current_message_option) {
				case 0: enter_message_number(); break;
				case 1: enter_recieved(gsm);
			}
                }
                if (key_pressed == 'D') {
                    enter_main_screen(gsm);
                }
                if (key_pressed == 'C') {
                    pop_state(gsm);
                }
                break;
            case STATE_MESSAGE_NUMBER:
                if (key_pressed == '#') {
                    enter_message_text(gsm);
                }
                if (key_pressed == 'C') {
                    pop_state(gsm);
                }
                if (key_pressed == 'D') {
                	enter_main_screen(gsm);
                }
                break;
            case STATE_MESSAGE_TEXT:
                if (key_pressed == '#') {
                    display_sent_sms(&lcd);
                    HAL_Delay(2000);
                    enter_main_screen(gsm);
                }
                if (key_pressed == 'C') {
                    pop_state(gsm);
                }
                if (key_pressed == 'D') {
                	enter_main_screen(gsm);
                }
                break;
            case STATE_RECIEVED:
            	display_messages_list(&lcd, gsm);
            	if (key_pressed == 'C') {
					pop_state(gsm);
				}
				if (key_pressed == 'D') {
					enter_main_screen(gsm);
				}
            default:
                enter_main_screen(gsm);
        }
    } else {
        switch (current_state) {
            case STATE_CALL:
                if (key_pressed == '*') {
                    gsm.hang_up();
                    enter_main_screen(gsm);
                }
                break;
            case STATE_INCOMING_CALL:
                if (key_pressed == '*') {
                    gsm.receive_call();
                    enter_call();
                }
                if (key_pressed == '#') {
                    gsm.hang_up();
                    enter_main_screen(gsm);
                }
                break;
        }
    }
}

/* USER CODE END 0 */

int main(void){

  /* MCU Configuration--------------------------------------------------------*/

  /* Reset of all peripherals, Initializes the Flash interface and the Systick. */

  /* Configure the system clock */

  /* Initialize all configured peripherals */
  HAL_Init();
  SystemClock_Config();

  MX_GPIO_Init();
  MX_I2C1_Init();
  MX_SPI1_Init();
  MX_USB_PCD_Init();
  MX_SPI2_Init();
  MX_USART2_UART_Init();
  /* USER CODE BEGIN 2 */

  lcd.hw_conf.spi_handle = &hspi2;
  lcd.hw_conf.spi_cs_pin = LCD1_CS_Pin;
  lcd.hw_conf.spi_cs_port = LCD1_CS_GPIO_Port;
  lcd.hw_conf.rst_pin = LCD1_RST_Pin;
  lcd.hw_conf.rst_port = LCD1_RST_GPIO_Port;
  lcd.hw_conf.dc_pin = LCD1_DC_Pin;
  lcd.hw_conf.dc_port = LCD1_DC_GPIO_Port;
  lcd.def_scr = lcd5110_def_scr;

  char key_pressed = 0;

  Parameters parameters;
  load_parameters(parameters, USART_RX_GPIO_Port, USART_RX_Pin, USART_TX_GPIO_Port, USART_TX_Pin, &huart2);
  GSM_Module gsm(parameters);

  LCD5110_init(&lcd.hw_conf, LCD5110_NORMAL_MODE, 0x40, 2, 3);

  enter_main_screen(gsm);
  /* USER CODE END 2 */

  /* Infinite loop */
  while (1)
  {
	  key_pressed = keypad_scan();
	  if (key_pressed != 0) {
		  HAL_GPIO_WritePin(GPIOE, GPIO_PIN_8, GPIO_PIN_SET);
		  handle_key_press(key_pressed, gsm);
		  HAL_Delay(2000);
		  HAL_GPIO_WritePin(GPIOE, GPIO_PIN_8, GPIO_PIN_RESET);
	  }

	  if (gsm.current_state == gsm.INCOMING_CALL) {
		  enter_incomming_call();
	  } else if (gsm.current_state == gsm.CONVERSATION) {
		  enter_call();
	  }
  }
}

void SystemClock_Config(void)
{
  RCC_OscInitTypeDef RCC_OscInitStruct = {0};
  RCC_ClkInitTypeDef RCC_ClkInitStruct = {0};
  RCC_PeriphCLKInitTypeDef PeriphClkInit = {0};

  /** Initializes the RCC Oscillators according to the specified parameters
  * in the RCC_OscInitTypeDef structure.
  */
  RCC_OscInitStruct.OscillatorType = RCC_OSCILLATORTYPE_HSI|RCC_OSCILLATORTYPE_HSE;
  RCC_OscInitStruct.HSEState = RCC_HSE_BYPASS;
  RCC_OscInitStruct.HSEPredivValue = RCC_HSE_PREDIV_DIV1;
  RCC_OscInitStruct.HSIState = RCC_HSI_ON;
  RCC_OscInitStruct.HSICalibrationValue = RCC_HSICALIBRATION_DEFAULT;
  RCC_OscInitStruct.PLL.PLLState = RCC_PLL_ON;
  RCC_OscInitStruct.PLL.PLLSource = RCC_PLLSOURCE_HSE;
  RCC_OscInitStruct.PLL.PLLMUL = RCC_PLL_MUL6;
  if (HAL_RCC_OscConfig(&RCC_OscInitStruct) != HAL_OK)
  {
    Error_Handler();
  }

  /** Initializes the CPU, AHB and APB buses clocks
  */
  RCC_ClkInitStruct.ClockType = RCC_CLOCKTYPE_HCLK|RCC_CLOCKTYPE_SYSCLK
                              |RCC_CLOCKTYPE_PCLK1|RCC_CLOCKTYPE_PCLK2;
  RCC_ClkInitStruct.SYSCLKSource = RCC_SYSCLKSOURCE_PLLCLK;
  RCC_ClkInitStruct.AHBCLKDivider = RCC_SYSCLK_DIV1;
  RCC_ClkInitStruct.APB1CLKDivider = RCC_HCLK_DIV2;
  RCC_ClkInitStruct.APB2CLKDivider = RCC_HCLK_DIV1;

  if (HAL_RCC_ClockConfig(&RCC_ClkInitStruct, FLASH_LATENCY_1) != HAL_OK)
  {
    Error_Handler();
  }
  PeriphClkInit.PeriphClockSelection = RCC_PERIPHCLK_USB|RCC_PERIPHCLK_USART1
                              |RCC_PERIPHCLK_I2C1;
  PeriphClkInit.Usart1ClockSelection = RCC_USART1CLKSOURCE_PCLK2;
  PeriphClkInit.I2c1ClockSelection = RCC_I2C1CLKSOURCE_HSI;
  PeriphClkInit.USBClockSelection = RCC_USBCLKSOURCE_PLL;
  if (HAL_RCCEx_PeriphCLKConfig(&PeriphClkInit) != HAL_OK)
  {
    Error_Handler();
  }
}

void Error_Handler(void)
{
  __disable_irq();
  while (1)
  {
  }
}
